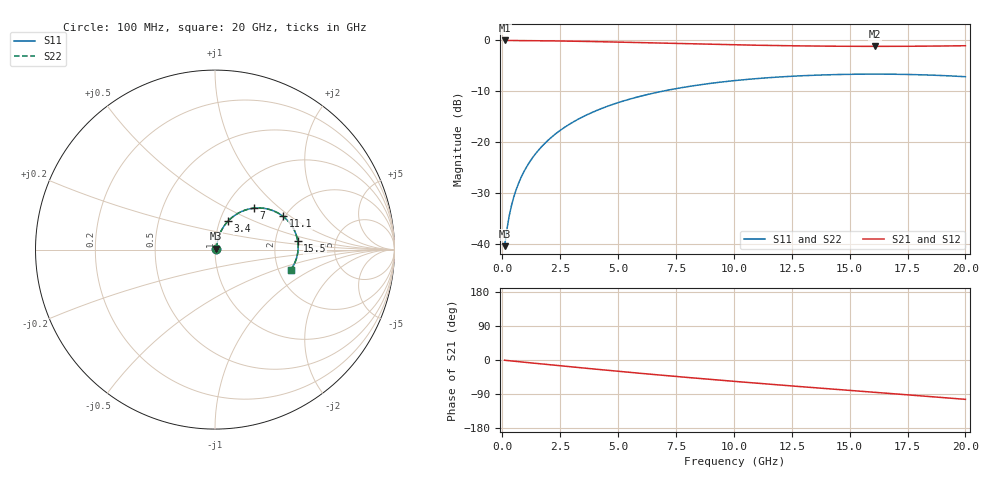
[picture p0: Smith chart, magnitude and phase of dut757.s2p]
! Touchstone file exported from HFSS 2026.1.0
!  File:  C:/ffzhzh/LocalFiles/Ansys_Project_Files/temp_train_TSV_RDL_757_1783206876_22436.aedt
!  Generated:  07:26:05 AM Jul  5, 2026
!  Design:  TSV_RDL
!  Project:  temp_train_TSV_RDL_757_1783206876_22436
! Variables:
!  h_bsmrdl = 3.79um
!  h_ox = 20um
!  h_rdl = 5um
!  h_sub = 62.17um
!  h_tmrdl = 3.17um
!  h_tsv = 62.17um
!  h_via = 3um
!  l_bsmrdl = 116.92um
!  l_sub = 1805.92um
!  l_tmrdl = 233.04um
!  m_sub = 200um
!  pitch = 53.36um
!  r_tsv = 12.38um
!  s_tmrdl = 10um
!  w_bsmrdl = 15.49um
!  w_sub = 500um
!  w_tmrdl = 25.51um
!  x_tsv_center1 = 245.795um
!  x_tsv_center2 = 378.205um
!  x_tsv_center3 = 636.755um
!  x_tsv_center4 = 769.165um
!  x_tsv_center5 = 1027.715um
!  x_tsv_center6 = 1160.125um
# GHz S MA R 50.000000
! Terminal data exported
! Port[1] = TM_RDL1_1_T1
! Port[2] = TM_RDL5_1_T1
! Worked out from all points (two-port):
!   200 points, 100 MHz to 20 GHz, reference 50 ohm
!   highest |S21| = -0.07 dB at 100 MHz (marker M1); lowest = -1.2 dB at 16.1 GHz (marker M2)
!   |S21| within 3 dB of the highest: start of sweep to end of sweep
!   lowest |S11| = -40.4 dB at 100 MHz (marker M3), VSWR 1.02, Z = 50.8 + j0.583 ohm
!   |S11| at or under -10 dB: start of sweep to 6.951 GHz
!   |S22| runs from -40.4 to -6.7 dB; largest |S21 - S12| = 1.5e-14
!   S11 on the Smith chart (normalised r, x): 100 MHz: 1.02, +0.01; 3.4 GHz: 1.09, +0.36; 7 GHz: 1.35, +0.70; 11.1 GHz: 1.95, +0.88; 15.5 GHz: 2.68, +0.33; 20 GHz: 2.34, -0.64
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0.1  0.009496 37.2  0.9925 -0.6  0.9925 -0.6  0.009496 37.2
! Gamma 0 0 0 0
! Port Impedance 50 0 50 0
0.2  0.0139 54.6  0.9921 -1.3  0.9921 -1.3  0.0139 54.6
0.3  0.01887 62.5  0.9917 -1.9  0.9917 -1.9  0.01887 62.5
0.4  0.02394 66.7  0.9912 -2.5  0.9912 -2.5  0.02394 66.7
0.5  0.02901 69.2  0.9908 -3.1  0.9908 -3.1  0.02901 69.2
0.8  0.04425 72.8  0.9897 -5.0  0.9897 -5.0  0.04425 72.8
1.1  0.05954 73.8  0.9885 -6.8  0.9885 -6.8  0.05954 73.8
1.6  0.08501 73.3  0.9862 -9.8  0.9862 -9.8  0.08501 73.3
2.1  0.1102 71.7  0.9833 -12.8  0.9833 -12.8  0.1102 71.7
2.7  0.1398 69.0  0.979 -16.4  0.979 -16.4  0.1398 69.0
3.4  0.1731 65.6  0.9731 -20.5  0.9731 -20.5  0.1731 65.6
3.5  0.1778 65.0  0.9721 -21.1  0.9721 -21.1  0.1778 65.0
5  0.2434 57.1  0.9565 -29.7  0.9565 -29.7  0.2434 57.1
6.8  0.3111 47.6  0.9355 -39.7  0.9355 -39.7  0.3111 47.6
7  0.3179 46.6  0.9331 -40.8  0.9331 -40.8  0.3179 46.6
10.1  0.402 31.0  0.899 -56.8  0.899 -56.8  0.402 31.0
11.1  0.4212 26.2  0.8901 -61.7  0.8901 -61.7  0.4212 26.2
13.4  0.4516 15.5  0.875 -72.7  0.875 -72.7  0.4516 15.5
15.5  0.4632 5.9  0.8689 -82.6  0.8689 -82.6  0.4632 5.9
16.1  0.4637 3.2  0.8685 -85.4  0.8685 -85.4  0.4637 3.2
16.7  0.4631 0.5  0.8688 -88.2  0.8688 -88.2  0.4631 0.5
20  0.4373 -14.7  0.881 -103.8  0.881 -103.8  0.4373 -14.7
